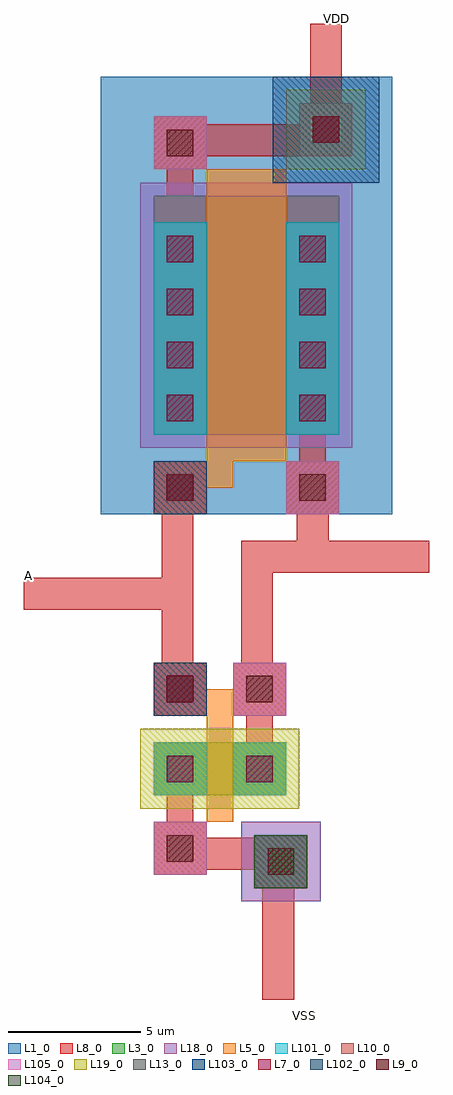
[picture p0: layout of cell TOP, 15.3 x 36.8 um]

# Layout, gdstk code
import gdstk
lib = gdstk.Library(unit=1e-6, precision=1e-07)
def R(c, l, rs):  # rectangles x0, y0, x1, y1
    for r in rs: c.add(gdstk.rectangle(r[:2], r[2:], *l))
L1_0 = (1, 0)
L3_0 = (3, 0)
L5_0 = (5, 0)
L7_0 = (7, 0)
L8_0 = (8, 0)
L9_0 = (9, 0)
L10_0 = (10, 0)
L13_0 = (13, 0)
L18_0 = (18, 0)
L19_0 = (19, 0)
L101_0 = (101, 0)
L102_0 = (102, 0)
L103_0 = (103, 0)
L104_0 = (104, 0)
L105_0 = (105, 0)

dcont = lib.new_cell('dcont')
R(dcont, L3_0, [(-1,-1,1,1)])
R(dcont, L7_0, [(-0.5,-0.5,0.5,0.5)])
R(dcont, L8_0, [(-1,-1,1,1)])
R(dcont, L13_0, [(-0.5,-0.5,0.5,0.5)])
R(dcont, L101_0, [(-1,-1,1,1)])

pcont = lib.new_cell('pcont')
R(pcont, L5_0, [(-1,-1,1,1)])
R(pcont, L7_0, [(-0.5,-0.5,0.5,0.5)])
R(pcont, L8_0, [(-1,-1,1,1)])
R(pcont, L13_0, [(-0.5,-0.5,0.5,0.5)])
R(pcont, L102_0, [(-1,-1,1,1)])

via = lib.new_cell('Via')
R(via, L8_0, [(-1,-1,1,1)])
R(via, L9_0, [(-0.5,-0.5,0.5,0.5)])
R(via, L10_0, [(-1,-1,1,1)])
R(via, L13_0, [(-0.5,-0.5,0.5,0.5)])
R(via, L105_0, [(-1,-1,1,1)])

dcont1 = lib.new_cell('dcont1')
R(dcont1, L3_0, [(-1,-1,1,1)])
R(dcont1, L7_0, [(-0.5,-0.5,0.5,0.5)])
R(dcont1, L8_0, [(-1,-1,1,1)])
R(dcont1, L13_0, [(-0.5,-0.5,0.5,0.5)])
R(dcont1, L101_0, [(-1,-1,1,1)])

nsubcont = lib.new_cell('nsubcont')
R(nsubcont, L1_0, [(-2,-2,2,2)])
R(nsubcont, L19_0, [(-1.5,-1.5,1.5,1.5)])
R(nsubcont, L103_0, [(-2,-2,2,2)])
nsubcont.add(gdstk.Reference(dcont1, (0,0)))

pch_1 = lib.new_cell('Pch$1')
R(pch_1, L1_0, [(-2,0,9,16.5)])
R(pch_1, L3_0, [(0,3,7,12)])
R(pch_1, L18_0, [(-0.5,2.5,7.5,12.5)])
pch_1.add(gdstk.FlexPath([(3.5,3),(3.5,12)], 3, ends=(1, 1), simple_path=True, layer=5, datatype=0))  # L5_0
pch_1.add(gdstk.FlexPath([(1,1.5),(2.5,1.5),(2.5,2)], 1, ends="flush", simple_path=True, layer=5, datatype=0))  # L5_0
pch_1.add(gdstk.FlexPath([(1,3),(1,12)], 2, ends="flush", simple_path=True, layer=8, datatype=0))  # L8_0
pch_1.add(gdstk.FlexPath([(6,3),(6,12)], 2, ends="flush", simple_path=True, layer=8, datatype=0))  # L8_0
pch_1.add(gdstk.FlexPath([(1,11),(1,14)], 1, ends="flush", simple_path=True, layer=8, datatype=0))  # L8_0
pch_1.add(gdstk.FlexPath([(6,1),(6,4)], 1, ends="flush", simple_path=True, layer=8, datatype=0))  # L8_0
pch_1.add(gdstk.Reference(dcont, (1,4)))
pch_1.add(gdstk.Reference(dcont, (1,6)))
pch_1.add(gdstk.Reference(dcont, (1,8)))
pch_1.add(gdstk.Reference(dcont, (1,10)))
pch_1.add(gdstk.Reference(dcont, (6,4)))
pch_1.add(gdstk.Reference(dcont, (6,6)))
pch_1.add(gdstk.Reference(dcont, (6,8)))
pch_1.add(gdstk.Reference(dcont, (6,10)))
pch_1.add(gdstk.Reference(pcont, (1,1)))
pch_1.add(gdstk.Reference(via, (1,1)))
pch_1.add(gdstk.Reference(via, (1,14)))
pch_1.add(gdstk.Reference(via, (6,1)))
pch_1.add(gdstk.Reference(nsubcont, (6.5,14.5)))
pch_1.add(gdstk.Reference(via, (6.5,14.5)))

psubcont = lib.new_cell('psubcont')
R(psubcont, L18_0, [(-1.5,-1.5,1.5,1.5)])
R(psubcont, L104_0, [(-1,-1,1,1)])
psubcont.add(gdstk.Reference(dcont1, (0,0)))

nch_1 = lib.new_cell('Nch$1')
R(nch_1, L3_0, [(0,3,5,5)])
R(nch_1, L19_0, [(-0.5,2.5,5.5,5.5)])
nch_1.add(gdstk.FlexPath([(2.5,3),(2.5,5)], 1, ends=(1, 1), simple_path=True, layer=5, datatype=0))  # L5_0
nch_1.add(gdstk.FlexPath([(1,6.5),(2.5,6.5),(2.5,6)], 1, ends="flush", simple_path=True, layer=5, datatype=0))  # L5_0
nch_1.add(gdstk.FlexPath([(1,3),(1,5)], 2, ends="flush", simple_path=True, layer=8, datatype=0))  # L8_0
nch_1.add(gdstk.FlexPath([(4,3),(4,5)], 2, ends="flush", simple_path=True, layer=8, datatype=0))  # L8_0
nch_1.add(gdstk.FlexPath([(1,1),(1,4)], 1, ends="flush", simple_path=True, layer=8, datatype=0))  # L8_0
nch_1.add(gdstk.FlexPath([(4,4),(4,7)], 1, ends="flush", simple_path=True, layer=8, datatype=0))  # L8_0
nch_1.add(gdstk.Reference(dcont, (1,4)))
nch_1.add(gdstk.Reference(dcont, (4,4)))
nch_1.add(gdstk.Reference(pcont, (1,7)))
nch_1.add(gdstk.Reference(via, (1,7)))
nch_1.add(gdstk.Reference(via, (1,1)))
nch_1.add(gdstk.Reference(via, (4,7)))
nch_1.add(gdstk.Reference(psubcont, (4.8,0.5)))
nch_1.add(gdstk.Reference(via, (4.8,0.5)))

top = lib.new_cell('TOP')
top.add(gdstk.FlexPath([(3.4,-3.8),(3.4,-11.2),(3.5,-11.2)], 1.2, ends="flush", simple_path=True, layer=8, datatype=0))  # L8_0
top.add(gdstk.FlexPath([(3.4,-7.7),(-2.4,-7.7)], 1.2, ends="flush", simple_path=True, layer=8, datatype=0))  # L8_0
top.add(gdstk.FlexPath([(4,-17.5),(7.1,-17.5)], 1.2, ends="flush", simple_path=True, layer=8, datatype=0))  # L8_0
top.add(gdstk.FlexPath([(6.4,-10.6),(6.4,-6.3),(8.5,-6.3),(8.5,-4),(8.5,-4)], 1.2, ends="flush", simple_path=True, layer=8, datatype=0))  # L8_0
top.add(gdstk.FlexPath([(9,10.1),(9,13.8)], 1.2, ends="flush", simple_path=True, layer=8, datatype=0))  # L8_0
top.add(gdstk.FlexPath([(8.3,-6.3),(12.9,-6.3),(12.9,-6.3)], 1.2, ends="flush", simple_path=True, layer=8, datatype=0))  # L8_0
top.add(gdstk.FlexPath([(3.9,9.4),(9,9.4),(9,10)], 1.2, ends="flush", simple_path=True, layer=8, datatype=0))  # L8_0
top.add(gdstk.FlexPath([(7.2,-18.1),(7.2,-23),(7.2,-23)], 1.2, ends="flush", simple_path=True, layer=8, datatype=0))  # L8_0
top.add(gdstk.Reference(pch_1, (2.5,-4.7)))
top.add(gdstk.Reference(nch_1, (2.5,-18.3)))
top.add(gdstk.Label('VDD', (9.4,14), layer=8, texttype=0))
top.add(gdstk.Label('A', (-2.2,-7), layer=8, texttype=0))
top.add(gdstk.Label('Q', (13.8,-7.4), layer=8, texttype=0))
top.add(gdstk.Label('VSS', (8.2,-23.7), layer=8, texttype=0))

lib.write_gds('TOP.gds')
